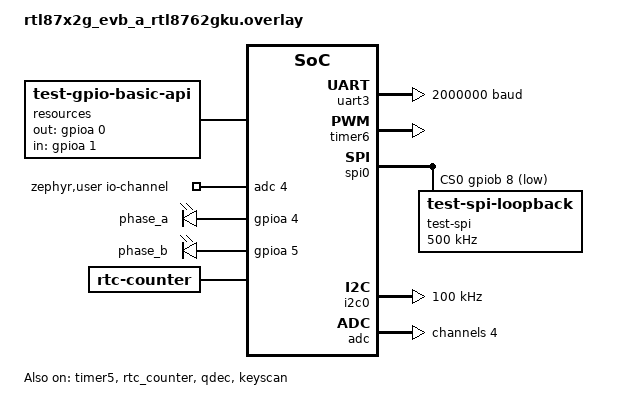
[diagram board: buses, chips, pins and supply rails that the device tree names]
/*
 * Copyright (c) 2026, Realtek Semiconductor Corporation
 *
 * SPDX-License-Identifier: Apache-2.0
 */

#include <zephyr/dt-bindings/gpio/realtek-bee-gpio.h>
#include <zephyr/dt-bindings/led/led.h>
#include <zephyr/dt-bindings/i2c/i2c.h>

/*
 *  P0_0 GPIO(TEST OUT)
 *  P0_1 GPIO(TEST IN)
 *  P0_2 PWM6
 *  P0_4 GPIO(TEST QDECX)
 *  P0_5 GPIO(TEST QDECX)
 *  P0_6 KSCAN_C0
 *  P0_7 KSCAN_C1
 *  P1_0 SWD
 *  P1_1 SWD
 *  P1_3 QDECX_A
 *  P1_4 QDECX_B
 *  P2_2 I2C0_CLK
 *  P2_3 I2C0_DAT
 *  P2_4 ADC
 *  P2_6 KSCAN_R0
 *  P2_7 KSCAN_R1
 *  P3_2 UART2_TX
 *  P3_3 UART2_RX
 *  P3_4 CAN_TX
 *  P3_5 CAN_RX
 *  P4_0 SPI0_CLK
 *  P4_1 SPI0_MO
 *  P4_2 SPI0_MI
 *  P4_3 GPIO(SPI0_CS)
 *  P4_4 UART3_TX(DMA)
 *  P4_5 UART3_RX(DMA)
 */

/ {
	resources {
		compatible = "test-gpio-basic-api";
		// P0_0
		out-gpios = <&gpioa 0 GPIO_ACTIVE_HIGH>;
		// P0_1
		in-gpios = <&gpioa 1 GPIO_ACTIVE_HIGH>;
	};

	zephyr,user {
		io-channels = <&adc 4>;
	};

	aliases {
		test-uart-dma = &uart3;
		test-counter-timer = &counter5;
		test-pwm = &pwm6;
		test-rtc = &rtc;
		test-qdec = &qdec;
		test-qenca = &phase_a;
		test-qencb = &phase_b;
		test-i2c = &i2c0;
		test-can = &can;
	};

	encoder-emulate {
		compatible = "gpio-leds";

		phase_a: phase_a {
			// P0_4
			gpios = <&gpioa 4 GPIO_ACTIVE_HIGH>;
		};

		phase_b: phase_b {
			// P0_5
			gpios = <&gpioa 5 GPIO_ACTIVE_HIGH>;
		};
	};
};

&uart3 {
	pinctrl-0 = <&uart3_default>;
	pinctrl-names = "default";
	status = "okay";
	current-speed = <2000000>;
	parity = "none";
	stop-bits = "1";
	data-bits = <8>;
	dmas = <&dma0 0 BEE_DMA_HANDSHAKE_UART3_RX
		(BEE_DMA_P2M | BEE_DMA_SRC_FIXED | BEE_DMA_DST_INC | BEE_DMA_SRC_WIDTH_8BIT |
		 BEE_DMA_DST_WIDTH_8BIT | BEE_DMA_SRC_MSIZE(BEE_DMA_MSIZE_1) |
		 BEE_DMA_DST_MSIZE(BEE_DMA_MSIZE_1) | BEE_DMA_PRIORITY(0))>,
	       <&dma0 1 BEE_DMA_HANDSHAKE_UART3_TX
		(BEE_DMA_M2P | BEE_DMA_SRC_INC | BEE_DMA_DST_FIXED | BEE_DMA_SRC_WIDTH_8BIT |
		 BEE_DMA_DST_WIDTH_8BIT | BEE_DMA_SRC_MSIZE(BEE_DMA_MSIZE_1) |
		 BEE_DMA_DST_MSIZE(BEE_DMA_MSIZE_1) | BEE_DMA_PRIORITY(1))>;
	dma-names = "rx", "tx";
};

&dma0 {
	status = "okay";
};

&gpioa {
	pinctrl-0 = <&gpioa_default>;
	pinctrl-names = "default";
	status = "okay";
};

&gpiob {
	pinctrl-0 = <&gpiob_default>;
	pinctrl-names = "default";
	status = "okay";
};

&timer5 {
	status = "okay";
	prescaler = <1>;

	counter5: counter {
		status = "okay";
	};
};

&timer6 {
	status = "okay";
	prescaler = <1>;

	pwm6: pwm {
		status = "okay";
		pinctrl-0 = <&pwm6_default>;
		pinctrl-names = "default";
	};
};

&spi0 {
	status = "okay";
	pinctrl-0 = <&spi0_default>;
	pinctrl-names = "default";
	// P4_3
	cs-gpios = <&gpiob 8 GPIO_ACTIVE_LOW>;

	test-spi@0 {
		compatible = "test-spi-loopback";
		reg = <0>;
		spi-max-frequency = <500000>;
	};
};

&i2c0 {
	/* Bus recovery bit-bangs SCL/SDA through gpioa 23/24 (P2_2/P2_3), keep them free */
	pinctrl-0 = <&i2c0_default>;
	pinctrl-names = "default";
	clock-frequency = <I2C_BITRATE_STANDARD>;
	status = "okay";
};

&rtc_counter {
	prescaler = <1>;
	status = "okay";

	rtc: rtc {
		compatible = "zephyr,rtc-counter";
		alarms-count = <4>;
		status = "okay";
	};
};

&qdec {
	x-enable;
	x-counts-per-revolution = <4>;
	x-debounce-time-ms = <5>;
	pinctrl-0 = <&qdec_default>;
	pinctrl-names = "default";
	status = "okay";
};

&keyscan {
	pinctrl-0 = <&keyscan_default>;
	pinctrl-names = "default";
	row-size = <2>;
	col-size = <2>;
	debounce-down-ms = <10>;
	debounce-up-ms = <10>;
	poll-period-us = <50000>;
	release-time-us = <5000>;
	status = "okay";
};

&adc {
	pinctrl-0 = <&adc_default>;
	pinctrl-names = "default";
	#address-cells = <1>;
	#size-cells = <0>;
	status = "okay";

	channel@4 {
		reg = <4>;
		zephyr,gain = "ADC_GAIN_1";
		zephyr,reference = "ADC_REF_INTERNAL";
		zephyr,acquisition-time = <ADC_ACQ_TIME_DEFAULT>;
		zephyr,resolution = <12>;
	};
};

&pinctrl {
	/* Replaces the LED and key pins of the board, P1_0 and P1_1 stay SWD */
	gpioa_default: gpioa_default {
		group1 {
			psels = <BEE_PSEL_GPIOA_0_P0_0>, //P0_0 GPIO(TEST OUT)
				<BEE_PSEL_GPIOA_1_P0_1>; //P0_1 GPIO(TEST IN)
		};

		group2 {
			psels = <BEE_PSEL_GPIOA_4_P0_4>, //P0_4 GPIO(TEST QDECX)
				<BEE_PSEL_GPIOA_5_P0_5>; //P0_5 GPIO(TEST QDECX)
		};
	};

	gpiob_default: gpiob_default {
		group1 {
			psels = <BEE_PSEL_GPIOB_8_P4_3>; //P4_3 GPIO(SPI0_CS)
		};
	};

	/* Moves the console of the board from P3_0 and P3_1 */
	uart2_default: uart2_default {
		group1 {
			psels = <BEE_PSEL(UART2_TX, P3_2)>;
			output-enable;
			output-high;
			bias-pull-up;
		};

		group2 {
			psels = <BEE_PSEL(UART2_RX, P3_3)>;
			output-disable;
			bias-pull-up;
		};
	};

	uart3_default: uart3_default {
		group1 {
			psels = <BEE_PSEL(UART3_TX, P4_4)>;
			output-enable;
			output-high;
			bias-pull-up;
		};

		group2 {
			psels = <BEE_PSEL(UART3_RX, P4_5)>;
			output-disable;
			bias-pull-up;
		};
	};

	spi0_default: spi0_default {
		group1 {
			psels = <BEE_PSEL(SPI0_CLK_MASTER, P4_0)>,
				<BEE_PSEL(SPI0_MO_MASTER, P4_1)>,
				<BEE_PSEL(SPI0_MI_MASTER, P4_2)>;
			output-enable;
			output-high;
			bias-pull-up;
		};
	};

	pwm6_default: pwm6_default {
		group1 {
			psels = <BEE_PSEL(TIMER_PWM6, P0_2)>;
			output-enable;
			output-high;
			bias-pull-up;
		};
	};

	qdec_default: qdec_default {
		group1 {
			psels = <BEE_PSEL(QDPH0_IN_P1_3_P1_4, P1_3)>,
				<BEE_PSEL(QDPH0_IN_P1_3_P1_4, P1_4)>;
			output-disable;
			bias-disable;
		};
	};

	i2c0_default: i2c0_default {
		group1 {
			psels = <BEE_PSEL(I2C0_CLK, P2_2)>,
				<BEE_PSEL(I2C0_DAT, P2_3)>;
			output-enable;
			output-high;
			bias-pull-up;
		};
	};

	keyscan_default: keyscan_default {
		group1 {
			psels = <BEE_PSEL(KEY_COL_0, P0_6)>,
				<BEE_PSEL(KEY_COL_1, P0_7)>;
			output-enable;
			output-low;
			bias-disable;
		};

		group2 {
			psels = <BEE_PSEL(KEY_ROW_0, P2_6)>,
				<BEE_PSEL(KEY_ROW_1, P2_7)>;
			output-disable;
			bias-pull-up;
			bias-pull-strong;
		};
	};

	adc_default: adc_default {
		group1 {
			psels = <BEE_PSEL(SW_MODE, P2_4)>;
			output-disable;
			bias-pull-down;
		};
	};
};
